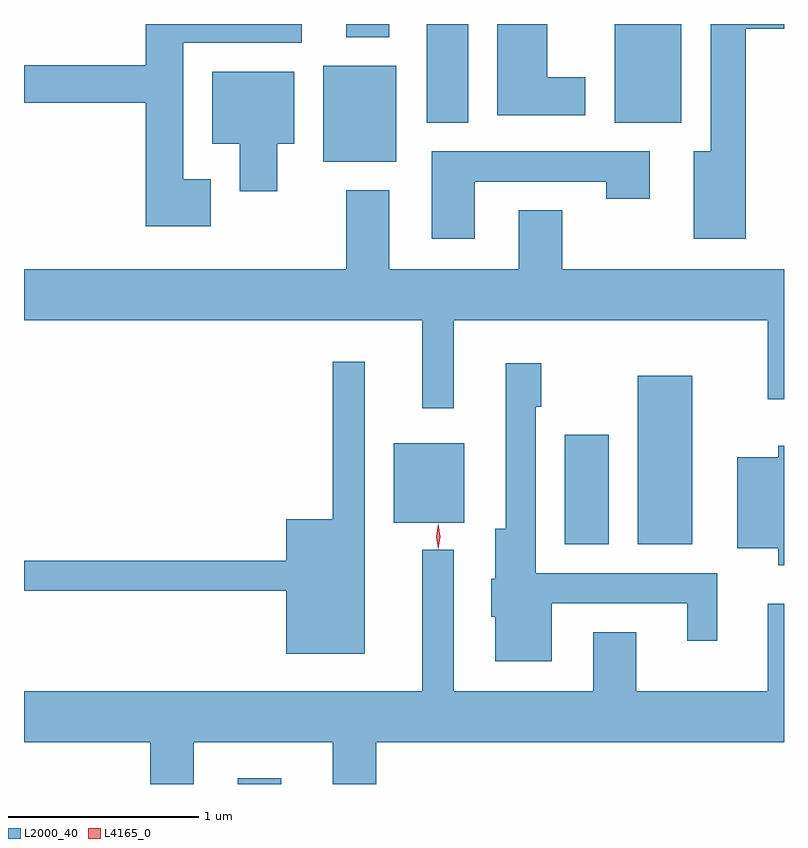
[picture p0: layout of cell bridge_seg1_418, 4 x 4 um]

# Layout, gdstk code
import gdstk
lib = gdstk.Library(unit=1e-6, precision=1e-09)
def R(c, l, rs):  # rectangles x0, y0, x1, y1
    for r in rs: c.add(gdstk.rectangle(r[:2], r[2:], *l))
def P(c, l, *ps):  # polygons
    for p in ps: c.add(gdstk.Polygon(p, *l))
L2000_40 = (2000, 40)
L4165_0 = (4165, 0)

bridge_seg1_418 = lib.new_cell('bridge_seg1_418')
R(bridge_seg1_418, L2000_40, [(327.891,941.535,328.119,941.564), (329.611,942.796,329.844,943.374), (329.996,942.796,330.284,943.684), (328.711,942.911,329.084,943.329), (328.341,944.811,328.724,945.314), (328.886,945.016,329.104,945.535), (329.876,945.016,330.224,945.535), (328.461,945.466,328.689,945.535)])
P(bridge_seg1_418, L2000_40, [(329.719,945.254),(329.519,945.254),(329.519,945.535),(329.256,945.535),(329.256,945.056),(329.719,945.056)],
  [(330.564,945.511),(330.766,945.511),(330.766,945.535),(330.381,945.535),(330.381,944.864),(330.291,944.864),(330.291,944.406),(330.564,944.406)],
  [(327.749,944.719),(327.604,944.719),(327.604,945.436),(328.229,945.436),(328.229,945.535),(327.406,945.535),(327.406,945.319),(326.766,945.319),(326.766,945.121),(327.406,945.121),(327.406,944.471),(327.749,944.471)],
  [(328.099,944.906),(328.189,944.906),(328.189,945.284),(327.756,945.284),(327.756,944.906),(327.901,944.906),(327.901,944.656),(328.099,944.656)],
  [(329.139,944.706),(329.831,944.706),(329.831,944.616),(330.059,944.616),(330.059,944.864),(328.911,944.864),(328.911,944.406),(329.139,944.406)],
  [(329.029,943.976),(330.681,943.976),(330.681,943.561),(330.766,943.561),(330.766,944.244),(329.599,944.244),(329.599,944.554),(329.371,944.554),(329.371,944.244),(328.689,944.244),(328.689,944.659),(328.461,944.659),(328.461,944.244),(326.766,944.244),(326.766,943.976),(328.861,943.976),(328.861,943.513),(329.029,943.513)],
  [(328.559,943.758),(328.391,943.758),(328.391,942.929),(328.146,942.929),(328.146,942.709),(326.766,942.709),(326.766,942.551),(328.146,942.551),(328.146,942.221),(328.559,942.221)],
  [(329.544,942.486),(330.256,942.486),(330.256,942.288),(330.414,942.288),(330.414,942.644),(329.459,942.644),(329.459,943.521),(329.489,943.521),(329.489,943.749),(329.301,943.749),(329.301,942.879),(329.246,942.879),(329.246,942.614),(329.226,942.614),(329.226,942.416),(329.246,942.416),(329.246,942.181),(329.544,942.181)],
  [(330.766,943.314),(330.736,943.314),(330.736,943.254),(330.521,943.254),(330.521,942.776),(330.736,942.776),(330.736,942.686),(330.766,942.686)],
  [(327.659,941.756),(328.391,941.756),(328.391,941.535),(328.619,941.535),(328.619,941.756),(330.766,941.756),(330.766,942.484),(330.681,942.484),(330.681,942.024),(329.989,942.024),(329.989,942.334),(329.761,942.334),(329.761,942.024),(329.029,942.024),(329.029,942.768),(328.861,942.768),(328.861,942.024),(326.766,942.024),(326.766,941.756),(327.431,941.756),(327.431,941.535),(327.659,941.535)])
P(bridge_seg1_418, L4165_0, [(328.945,942.773),(328.945,942.773),(328.936,942.837),(328.945,942.901),(328.946,942.902),(328.946,942.901),(328.956,942.837),(328.946,942.773)],
  [(328.946,942.769),(328.945,942.77),(328.936,942.837),(328.945,942.906),(328.946,942.906),(328.946,942.906),(328.956,942.837),(328.946,942.77)])

lib.write_gds('bridge_seg1_418.gds')
